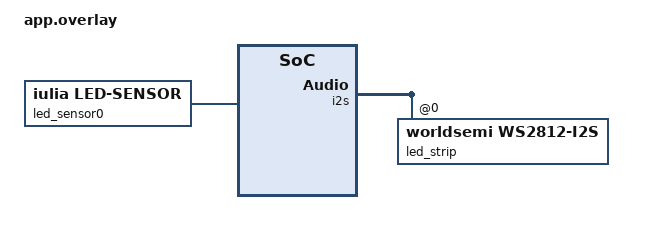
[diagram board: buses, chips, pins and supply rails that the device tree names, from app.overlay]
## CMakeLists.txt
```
cmake_minimum_required(VERSION 3.20.0)

list(APPEND EXTRA_ZEPHYR_MODULES
     ${CMAKE_CURRENT_SOURCE_DIR}/../modules/iulia_led_sensor)

find_package(Zephyr REQUIRED HINTS $ENV{ZEPHYR_BASE})

project(l6_led_sensor)

target_sources(app PRIVATE src/main.c)
```

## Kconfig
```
source "Kconfig.zephyr"

config APP_HEARTBEAT_PERIOD_MS
    int "Heartbeat LED period (ms)"
    default 500
    range 100 2000
    help
      Time between heartbeat LED state changes in milliseconds.

menuconfig LED_SUBSYSTEM
    bool "LED Subsystem"
    default y

if LED_SUBSYSTEM

choice
    prompt "LED blink sleep time"
    default BLINK_SLEEP_1000MS

config BLINK_SLEEP_250MS
    bool "250ms (fast)"

config BLINK_SLEEP_500MS
    bool "500ms"

config BLINK_SLEEP_1000MS
    bool "1s (medium)"

config BLINK_SLEEP_2000MS
    bool "2s"

endchoice

config BLINK_SLEEP_TIME_MS
    int
    default 250 if BLINK_SLEEP_250MS
    default 500 if BLINK_SLEEP_500MS
    default 1000 if BLINK_SLEEP_1000MS
    default 2000 if BLINK_SLEEP_2000MS
    default 0


menuconfig LED_ADVANCED
    bool "Advanced LED settings"
    default n

if LED_ADVANCED

config LED_BRIGHTNESS
    int "LED brightness (0-100)"
    range 0 100
    default 100

config LED_FADE_DURATION_MS
    int "LED fade duration (ms)"
    range 0 5000
    default 500


menu "Expert settings"
    visible if LED_ADVANCED

config LED_DEBUG
    bool "Enable LED debugging"
    default n

config CUSTOM_BLINK_PATTERN
    bool "Custom blink pattern"
    default n

endmenu

endif # LED_ADVANCED

endif # LED_SUBSYSTEM
```

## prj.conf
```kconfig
#CONFIG_CPP=y
#CONFIG_LOG=y
#CONFIG_LED_STRIP=y
#CONFIG_LED_STRIP_LOG_LEVEL_DBG=y

CONFIG_SENSOR=y
CONFIG_LED_STRIP=y
CONFIG_I2S=y
CONFIG_WS2812_STRIP_I2S=y
CONFIG_LOG=y

CONFIG_FLASH_SIZE=4096
CONFIG_ESPTOOLPY_FLASHMODE_DIO=y
CONFIG_ESPTOOLPY_FLASHFREQ_40M=y
CONFIG_ESPTOOLPY_FLASHSIZE_4MB=y

CONFIG_SHELL=y
CONFIG_SHELL_BACKEND_SERIAL=y
CONFIG_SHELL_CMDS=y
CONFIG_SHELL_TAB=y
CONFIG_SHELL_TAB_AUTOCOMPLETION=y
CONFIG_SHELL_HISTORY=y
```

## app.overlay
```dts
/*
 * Copyright (c) 2026 Espressif Systems (Shanghai) Co., Ltd.
 *
 * SPDX-License-Identifier: Apache-2.0
 */

#include <zephyr/dt-bindings/led/led.h>

/ {
	aliases {
		led-strip = &led_strip;
		// led0 = &led_strip;
		// led0 used for heartbeat demo; ESP32-C5 has one
		// addressable LED controlled through a single data line
		app-led = &led_strip;
	};

	led_sensor0: led_sensor {
		compatible = "iulia,led-sensor";
		led-strip = <&led_strip>;
		status = "okay";
	};
};

&i2s_default {
	group1 {
		pinmux = <I2S_O_SD_GPIO27>;
	};
};

i2s_led: &i2s {
	status = "okay";

	dmas = <&dma 3>;
	dma-names = "tx";

	led_strip: ws2812@0 {
		compatible = "worldsemi,ws2812-i2s";

		reg = <0>;
		chain-length = <1>;
		color-mapping = <LED_COLOR_ID_GREEN
				 LED_COLOR_ID_RED
				 LED_COLOR_ID_BLUE>;
		reset-delay = <500>;
	};
};

&dma {
	status = "okay";
};
```

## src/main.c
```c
#include <zephyr/device.h>
#include <zephyr/drivers/sensor.h>
#include <zephyr/kernel.h>
#include <zephyr/shell/shell.h>
#include <zephyr/sys/printk.h>

#include <stdlib.h>
#include <stdint.h>
#include <errno.h>

#include <iulia_drivers/iulia_led_sensor.h>


static const struct device *get_sensor_device(void)
{
    return DEVICE_DT_GET_ANY(iulia_led_sensor);
}


/*
 * sensor fetch
 * Calls sensor_sample_fetch()
 * In our LED sensor driver this turns the LED ON.
 */
static int cmd_sensor_fetch(const struct shell *sh,
                            size_t argc,
                            char **argv)
{
    ARG_UNUSED(argc);
    ARG_UNUSED(argv);

    const struct device *dev = get_sensor_device();

    if (dev == NULL) {
        shell_error(sh, "Sensor device not found");
        return -ENODEV;
    }

    if (!device_is_ready(dev)) {
        shell_error(sh, "Sensor device is not ready");
        return -ENODEV;
    }

    int ret = sensor_sample_fetch(dev);

    if (ret < 0) {
        shell_error(sh, "sensor_sample_fetch failed: %d", ret);
        return ret;
    }

    shell_print(sh, "sensor_sample_fetch called - LED ON");

    return 0;
}


/*
 * sensor read
 * Calls sensor_channel_get()
 * In our LED sensor driver this turns the LED OFF.
 */
static int cmd_sensor_read(const struct shell *sh,
                           size_t argc,
                           char **argv)
{
    ARG_UNUSED(argc);
    ARG_UNUSED(argv);

    const struct device *dev = get_sensor_device();
    struct sensor_value value;

    if (dev == NULL) {
        shell_error(sh, "Sensor device not found");
        return -ENODEV;
    }

    if (!device_is_ready(dev)) {
        shell_error(sh, "Sensor device is not ready");
        return -ENODEV;
    }

    int ret = sensor_channel_get(dev,
                                 SENSOR_CHAN_ALL,
                                 &value);

    if (ret < 0) {
        shell_error(sh, "sensor_channel_get failed: %d", ret);
        return ret;
    }

    shell_print(sh,
                "Sensor value: %d.%06d - LED OFF",
                value.val1,
                value.val2);

    return 0;
}


/*
 * sensor info
 * Prints device name and ready state.
 */
static int cmd_sensor_info(const struct shell *sh,
                           size_t argc,
                           char **argv)
{
    ARG_UNUSED(argc);
    ARG_UNUSED(argv);

    const struct device *dev = get_sensor_device();

    if (dev == NULL) {
        shell_error(sh, "Sensor device not found");
        return -ENODEV;
    }

    shell_print(sh, "Device name: %s", dev->name);

    shell_print(sh,
                "Ready state: %s",
                device_is_ready(dev) ? "READY" : "NOT READY");

    return 0;
}


/*
 * sensor set <value>
 *
 * L7 Task 2:
 * Calls the custom extension API created in L6 Task 2.
 * The value changes brightness in the driver's dynamic data struct.
 */
static int cmd_sensor_set(const struct shell *sh,
                          size_t argc,
                          char **argv)
{
    /*
     * SHELL_CMD_ARG allows the command to reach this handler
     * without a value, so we can explicitly report the missing
     * argument using shell_error().
     */
    if (argc != 2) {
        shell_error(sh,
                    "Missing value. Usage: sensor set <0-255>");
        return -EINVAL;
    }

    char *endptr;

    errno = 0;

    long value = strtol(argv[1], &endptr, 10);

    /*
     * Check that:
     * - conversion succeeded
     * - entire argument is numeric
     * - value fits our allowed brightness range
     */
    if (errno == ERANGE ||
        endptr == argv[1] ||
        *endptr != '\0') {

        shell_error(sh,
                    "Invalid value: %s. Use a number from 0 to 255",
                    argv[1]);

        return -EINVAL;
    }

    if (value < 0 || value > 255) {
        shell_error(sh,
                    "Value out of range. Use 0-255");

        return -EINVAL;
    }

    const struct device *dev = get_sensor_device();

    if (dev == NULL) {
        shell_error(sh, "Sensor device not found");
        return -ENODEV;
    }

    if (!device_is_ready(dev)) {
        shell_error(sh, "Sensor device is not ready");
        return -ENODEV;
    }

    /*
     * Custom extension API from L6 Task 2.
     * This changes data->brightness inside the driver.
     */
    int ret = iulia_led_sensor_set_brightness(
        dev,
        (uint8_t)value
    );

    if (ret < 0) {
        shell_error(sh,
                    "Failed to set brightness: %d",
                    ret);

        return ret;
    }

    shell_print(sh,
                "Brightness set to %ld",
                value);

    return 0;
}


/*
 * sensor subcommands
 */
SHELL_STATIC_SUBCMD_SET_CREATE(
    sub_sensor,

    SHELL_CMD(fetch,
              NULL,
              "Call sensor_sample_fetch() and turn LED ON",
              cmd_sensor_fetch),

    SHELL_CMD(read,
              NULL,
              "Call sensor_channel_get() and turn LED OFF",
              cmd_sensor_read),

    SHELL_CMD(info,
              NULL,
              "Show sensor device information",
              cmd_sensor_info),

    /*
     * mandatory = 1 -> "set"
     * optional  = 1 -> brightness value
     *
     * This allows:
     *     sensor set
     *     sensor set 100
     *
     * The handler checks if the value is missing.
     * More than one value is rejected by the shell.
     */
    SHELL_CMD_ARG(set,
                  NULL,
                  "Set LED brightness: sensor set <0-255>",
                  cmd_sensor_set,
                  1,
                  1),

    SHELL_SUBCMD_SET_END
);


/*
 * Root command:
 *
 * sensor
 * ├── fetch
 * ├── read
 * ├── info
 * └── set
 */
SHELL_CMD_REGISTER(sensor,
                   &sub_sensor,
                   "LED sensor commands",
                   NULL);


int main(void)
{
    printk("L7 LED sensor shell ready\n");
    printk("Type: sensor -h\n");

    return 0;
}
```

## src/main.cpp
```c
#include <zephyr/kernel.h>
#include <zephyr/device.h>
#include <zephyr/drivers/led_strip.h>
#include <zephyr/logging/log.h>

//#define SLEEP_TIME_MS CONFIG_BLINK_SLEEP_TIME_MS
#define SLEEP_TIME_MS CONFIG_APP_HEARTBEAT_PERIOD_MS
//#define STRIP_NODE DT_ALIAS(led_strip)
#define STRIP_NODE DT_ALIAS(app_led)
//#define STRIP_NODE DT_ALIAS(led0)

LOG_MODULE_REGISTER(main, LOG_LEVEL_INF);

static const struct device *const strip = DEVICE_DT_GET(STRIP_NODE);

int main(void)
{
    struct led_rgb pixel = {0};
    bool led_on = false;

    if (!device_is_ready(strip)) {
        LOG_ERR("LED strip device is not ready");
        return 0;
    }

    LOG_INF("LED blink started");

    while (1) {
        led_on = !led_on;

        if (led_on) {
            pixel.r = 0;
            pixel.g = 0;
            pixel.b = 32;
        } else {
            pixel.r = 0;
            pixel.g = 0;
            pixel.b = 0;
        }

        int ret = led_strip_update_rgb(strip, &pixel, 1);

        if (ret < 0) {
            LOG_ERR("Failed to update LED: %d", ret);
        }

        LOG_INF("LED state: %s", led_on ? "ON" : "OFF");

        k_msleep(SLEEP_TIME_MS);
    }

    return 0;
}
```
